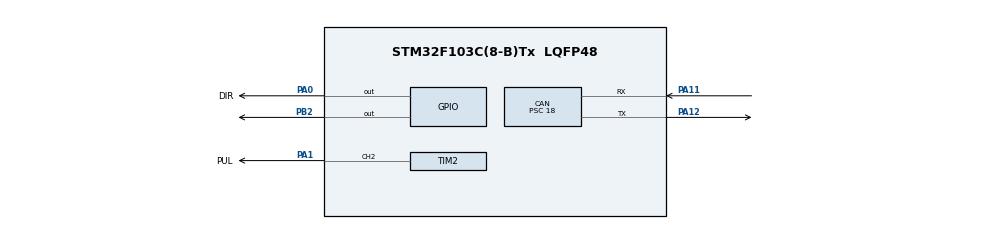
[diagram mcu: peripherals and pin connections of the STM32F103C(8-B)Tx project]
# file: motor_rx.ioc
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CAN.BS1=CAN_BS1_2TQ
CAN.CalculateBaudRate=111111
CAN.CalculateTimeBit=9000
CAN.CalculateTimeQuantum=2250.0
CAN.Prescaler=18
Mcu.Family=STM32F1
Mcu.Name=STM32F103C(8-B)Tx
Mcu.Package=LQFP48
NVIC.CAN1_RX1_IRQn=true\:0\:0\:false\:false\:true\:true\:true\:true
NVIC.PriorityGroup=NVIC_PRIORITYGROUP_4
NVIC.TIM3_IRQn=true\:0\:0\:false\:false\:true\:true\:true\:true
PA0-WKUP.GPIO_Label=DIR
PA0-WKUP.Signal=GPIO_Output
PA1.GPIO_Label=PUL
PA1.Signal=S_TIM2_CH2
PA11.Mode=CAN_Activate
PA11.Signal=CAN_RX
PA12.Mode=CAN_Activate
PA12.Signal=CAN_TX
PB2.Signal=GPIO_Output
PD0-OSC_IN.Mode=HSE-External-Oscillator
PD0-OSC_IN.Signal=RCC_OSC_IN
PD1-OSC_OUT.Mode=HSE-External-Oscillator
PD1-OSC_OUT.Signal=RCC_OSC_OUT
ProjectManager.HeapSize=0x200
ProjectManager.StackSize=0x400
ProjectManager.TargetToolchain=STM32CubeIDE
RCC.APB1Freq_Value=8000000
RCC.APB2Freq_Value=8000000
SH.S_TIM2_CH2.0=TIM2_CH2,PWM Generation2 CH2
TIM2.Channel-PWM\ Generation2\ CH2=TIM_CHANNEL_2
TIM2.Period=1000 - 1
TIM2.Prescaler=8 - 1 
TIM3.Period=15 - 1
TIM3.Prescaler=8000 - 1
VP_SYS_VS_ND.Mode=No_Debug
VP_TIM2_VS_ClockSourceINT.Mode=Internal
VP_TIM3_VS_ClockSourceINT.Mode=Internal
board=custom

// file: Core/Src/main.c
/* USER CODE BEGIN Header */
/**
  ******************************************************************************
  * @file           : main.c
  * @brief          : Main program body
  ******************************************************************************
  * @attention
  *
  * Copyright (c) 2025 STMicroelectronics.
  * All rights reserved.
  *
  * This software is licensed under terms that can be found in the LICENSE file
  * in the root directory of this software component.
  * If no LICENSE file comes with this software, it is provided AS-IS.
  *
  ******************************************************************************
  */
/* USER CODE END Header */
#include "main.h"

/* USER CODE BEGIN Includes */
#include "stdio.h"

/* USER CODE END Includes */

/* USER CODE BEGIN PD */
#define DIR_PIN   GPIO_PIN_0
#define DIR_PORT  GPIOA
#define SCALE 10
#define PULSE_DELAY 1   // ms; adjust speed
#define MSG_ID 0x100
/* USER CODE END PD */

CAN_HandleTypeDef hcan;

TIM_HandleTypeDef htim2;
TIM_HandleTypeDef htim3;

/* USER CODE BEGIN PV */
int32_t current_count = 0;
int32_t last_count = 0;
uint32_t duty = 0 ;
volatile uint8_t can_received = 0;  // Flag for LED indication
CAN_RxHeaderTypeDef RxHeader;
uint8_t RxData[8];

/* USER CODE END PV */

void SystemClock_Config(void);
static void MX_GPIO_Init(void);
static void MX_TIM2_Init(void);
static void MX_TIM3_Init(void);
static void MX_CAN_Init(void);

/* USER CODE BEGIN 0 */

void HAL_CAN_RxFifo1MsgPendingCallback(CAN_HandleTypeDef *hcan)
{
    if (HAL_CAN_GetRxMessage(hcan, CAN_RX_FIFO1, &RxHeader, RxData) == HAL_OK)
    {
            // Unpack 4 bytes (big-endian) into current_count
            current_count = ((int32_t)RxData[0] << 24) |
                           ((int32_t)RxData[1] << 16) |
                           ((int32_t)RxData[2] << 8) |
                           ((int32_t)RxData[3]);

            can_received = 1;  // Set flag for LED (don't delay here!)

    }
}

void HAL_TIM_PeriodElapsedCallback(TIM_HandleTypeDef *htim)
{
    if(htim->Instance == TIM3)  // TIM3 update event
    {

        int32_t delta = current_count - last_count;
        // --- 1) Handle encoder overflow (16-bit counter wraparound) ---
                if(delta > 32767) delta -= 65536;
                else if(delta < -32768) delta += 65536;
                static GPIO_PinState last_dir = GPIO_PIN_RESET;
                if(delta != 0)
                                      {
                                          GPIO_PinState new_dir;
                                          if(delta > 0)
                                          {
                                              new_dir = GPIO_PIN_SET; // CW
                                          }
                                          else
                                          {
                                              new_dir = GPIO_PIN_RESET; // CCW
                                              delta = -delta; // make positive for duty scaling
                                          }

                                          // --- 3) If direction changed → stop motor briefly ---
                                          if(new_dir != last_dir)
                                          {
                                              __HAL_TIM_SET_COMPARE(&htim2, TIM_CHANNEL_2, 0); // stop
                                              duty = 0;
                                              HAL_GPIO_WritePin(DIR_PORT, DIR_PIN, new_dir);   // update direction
                                              last_dir = new_dir;
                                              return;  // exit this tick, resume next cycle
                                          }

            // --- 4) Calculate target duty ---
            duty = delta * SCALE;
            if(duty > htim2.Init.Period)
                duty = htim2.Init.Period;

            __HAL_TIM_SET_COMPARE(&htim2, TIM_CHANNEL_2, duty);
        }
        else
        {
            // No movement → stop motor
            __HAL_TIM_SET_COMPARE(&htim2, TIM_CHANNEL_2, 0);
            duty = 0;
        }

        // Update last_count for next loop
        last_count = current_count;
    }
}
/* USER CODE END 0 */

int main(void)
{

  /* MCU Configuration--------------------------------------------------------*/

  /* Reset of all peripherals, Initializes the Flash interface and the Systick. */
  HAL_Init();

  /* Configure the system clock */
  SystemClock_Config();

  /* Initialize all configured peripherals */
  MX_GPIO_Init();
  MX_TIM2_Init();
  MX_TIM3_Init();
  MX_CAN_Init();
  /* USER CODE BEGIN 2 */
  HAL_CAN_Start(&hcan);
  HAL_CAN_ActivateNotification(&hcan, CAN_IT_RX_FIFO1_MSG_PENDING);
  HAL_TIM_PWM_Start(&htim2, TIM_CHANNEL_2);
  HAL_TIM_Base_Start_IT(&htim3);  // Start timer with interrupt
  HAL_GPIO_WritePin(GPIOB, GPIO_PIN_2,GPIO_PIN_RESET );
  /* USER CODE END 2 */

  /* Infinite loop */
  while (1)
  {

    /* USER CODE BEGIN 3 */
	  if(can_received)
	      {
	        HAL_GPIO_TogglePin(GPIOB, GPIO_PIN_2);
	        HAL_Delay(500);  // Fast blink when receiving
	        can_received = 0;
	      }
  }
  /* USER CODE END 3 */
}

void SystemClock_Config(void)
{
  RCC_OscInitTypeDef RCC_OscInitStruct = {0};
  RCC_ClkInitTypeDef RCC_ClkInitStruct = {0};

  /** Initializes the RCC Oscillators according to the specified parameters
  * in the RCC_OscInitTypeDef structure.
  */
  RCC_OscInitStruct.OscillatorType = RCC_OSCILLATORTYPE_HSI;
  RCC_OscInitStruct.HSIState = RCC_HSI_ON;
  RCC_OscInitStruct.HSICalibrationValue = RCC_HSICALIBRATION_DEFAULT;
  RCC_OscInitStruct.PLL.PLLState = RCC_PLL_NONE;
  if (HAL_RCC_OscConfig(&RCC_OscInitStruct) != HAL_OK)
  {
    Error_Handler();
  }

  /** Initializes the CPU, AHB and APB buses clocks
  */
  RCC_ClkInitStruct.ClockType = RCC_CLOCKTYPE_HCLK|RCC_CLOCKTYPE_SYSCLK
                              |RCC_CLOCKTYPE_PCLK1|RCC_CLOCKTYPE_PCLK2;
  RCC_ClkInitStruct.SYSCLKSource = RCC_SYSCLKSOURCE_HSI;
  RCC_ClkInitStruct.AHBCLKDivider = RCC_SYSCLK_DIV1;
  RCC_ClkInitStruct.APB1CLKDivider = RCC_HCLK_DIV1;
  RCC_ClkInitStruct.APB2CLKDivider = RCC_HCLK_DIV1;

  if (HAL_RCC_ClockConfig(&RCC_ClkInitStruct, FLASH_LATENCY_0) != HAL_OK)
  {
    Error_Handler();
  }
}

static void MX_CAN_Init(void)
{

  hcan.Instance = CAN1;
  hcan.Init.Prescaler = 18;
  hcan.Init.Mode = CAN_MODE_NORMAL;
  hcan.Init.SyncJumpWidth = CAN_SJW_1TQ;
  hcan.Init.TimeSeg1 = CAN_BS1_2TQ;
  hcan.Init.TimeSeg2 = CAN_BS2_1TQ;
  hcan.Init.TimeTriggeredMode = DISABLE;
  hcan.Init.AutoBusOff = DISABLE;
  hcan.Init.AutoWakeUp = DISABLE;
  hcan.Init.AutoRetransmission = ENABLE;
  hcan.Init.ReceiveFifoLocked = DISABLE;
  hcan.Init.TransmitFifoPriority = DISABLE;
  if (HAL_CAN_Init(&hcan) != HAL_OK)
  {
    Error_Handler();
  }
  /* USER CODE BEGIN CAN_Init 2 */
  CAN_FilterTypeDef canfilterconfig;

   canfilterconfig.FilterActivation = CAN_FILTER_ENABLE;
   canfilterconfig.FilterBank = 0;
   canfilterconfig.FilterFIFOAssignment = CAN_FILTER_FIFO1;
   canfilterconfig.FilterIdHigh = MSG_ID<<5;
   canfilterconfig.FilterIdLow = 0x000;
   canfilterconfig.FilterMaskIdHigh = 0x7FF<<5;
   canfilterconfig.FilterMaskIdLow = 0x000;
   canfilterconfig.FilterMode = CAN_FILTERMODE_IDMASK;
   canfilterconfig.FilterScale = CAN_FILTERSCALE_32BIT;
   canfilterconfig.SlaveStartFilterBank = 0;

   HAL_CAN_ConfigFilter(&hcan, &canfilterconfig);
  /* USER CODE END CAN_Init 2 */

}

static void MX_TIM2_Init(void)
{

  TIM_ClockConfigTypeDef sClockSourceConfig = {0};
  TIM_MasterConfigTypeDef sMasterConfig = {0};
  TIM_OC_InitTypeDef sConfigOC = {0};

  htim2.Instance = TIM2;
  htim2.Init.Prescaler = 8 - 1 ;
  htim2.Init.CounterMode = TIM_COUNTERMODE_UP;
  htim2.Init.Period = 1000 - 1;
  htim2.Init.ClockDivision = TIM_CLOCKDIVISION_DIV1;
  htim2.Init.AutoReloadPreload = TIM_AUTORELOAD_PRELOAD_DISABLE;
  if (HAL_TIM_Base_Init(&htim2) != HAL_OK)
  {
    Error_Handler();
  }
  sClockSourceConfig.ClockSource = TIM_CLOCKSOURCE_INTERNAL;
  if (HAL_TIM_ConfigClockSource(&htim2, &sClockSourceConfig) != HAL_OK)
  {
    Error_Handler();
  }
  if (HAL_TIM_PWM_Init(&htim2) != HAL_OK)
  {
    Error_Handler();
  }
  sMasterConfig.MasterOutputTrigger = TIM_TRGO_RESET;
  sMasterConfig.MasterSlaveMode = TIM_MASTERSLAVEMODE_DISABLE;
  if (HAL_TIMEx_MasterConfigSynchronization(&htim2, &sMasterConfig) != HAL_OK)
  {
    Error_Handler();
  }
  sConfigOC.OCMode = TIM_OCMODE_PWM1;
  sConfigOC.Pulse = 0;
  sConfigOC.OCPolarity = TIM_OCPOLARITY_HIGH;
  sConfigOC.OCFastMode = TIM_OCFAST_DISABLE;
  if (HAL_TIM_PWM_ConfigChannel(&htim2, &sConfigOC, TIM_CHANNEL_2) != HAL_OK)
  {
    Error_Handler();
  }
  HAL_TIM_MspPostInit(&htim2);

}

static void MX_TIM3_Init(void)
{

  TIM_ClockConfigTypeDef sClockSourceConfig = {0};
  TIM_MasterConfigTypeDef sMasterConfig = {0};

  htim3.Instance = TIM3;
  htim3.Init.Prescaler = 8000 - 1;
  htim3.Init.CounterMode = TIM_COUNTERMODE_UP;
  htim3.Init.Period = 15 - 1;
  htim3.Init.ClockDivision = TIM_CLOCKDIVISION_DIV1;
  htim3.Init.AutoReloadPreload = TIM_AUTORELOAD_PRELOAD_DISABLE;
  if (HAL_TIM_Base_Init(&htim3) != HAL_OK)
  {
    Error_Handler();
  }
  sClockSourceConfig.ClockSource = TIM_CLOCKSOURCE_INTERNAL;
  if (HAL_TIM_ConfigClockSource(&htim3, &sClockSourceConfig) != HAL_OK)
  {
    Error_Handler();
  }
  sMasterConfig.MasterOutputTrigger = TIM_TRGO_RESET;
  sMasterConfig.MasterSlaveMode = TIM_MASTERSLAVEMODE_DISABLE;
  if (HAL_TIMEx_MasterConfigSynchronization(&htim3, &sMasterConfig) != HAL_OK)
  {
    Error_Handler();
  }

}

static void MX_GPIO_Init(void)
{
  GPIO_InitTypeDef GPIO_InitStruct = {0};

  /* GPIO Ports Clock Enable */
  __HAL_RCC_GPIOD_CLK_ENABLE();
  __HAL_RCC_GPIOA_CLK_ENABLE();
  __HAL_RCC_GPIOB_CLK_ENABLE();

  /*Configure GPIO pin Output Level */
  HAL_GPIO_WritePin(DIR_PORT, DIR_PIN, GPIO_PIN_RESET);

  /*Configure GPIO pin Output Level */
  HAL_GPIO_WritePin(GPIOB, GPIO_PIN_2, GPIO_PIN_RESET);

  /*Configure GPIO pin : DIR_Pin */
  GPIO_InitStruct.Pin = DIR_Pin;
  GPIO_InitStruct.Mode = GPIO_MODE_OUTPUT_PP;
  GPIO_InitStruct.Pull = GPIO_NOPULL;
  GPIO_InitStruct.Speed = GPIO_SPEED_FREQ_LOW;
  HAL_GPIO_Init(DIR_GPIO_Port, &GPIO_InitStruct);

  /*Configure GPIO pin : PB2 */
  GPIO_InitStruct.Pin = GPIO_PIN_2;
  GPIO_InitStruct.Mode = GPIO_MODE_OUTPUT_PP;
  GPIO_InitStruct.Pull = GPIO_NOPULL;
  GPIO_InitStruct.Speed = GPIO_SPEED_FREQ_LOW;
  HAL_GPIO_Init(GPIOB, &GPIO_InitStruct);

}

void Error_Handler(void)
{
	__disable_irq();
  while (1)
  {
  }
}
